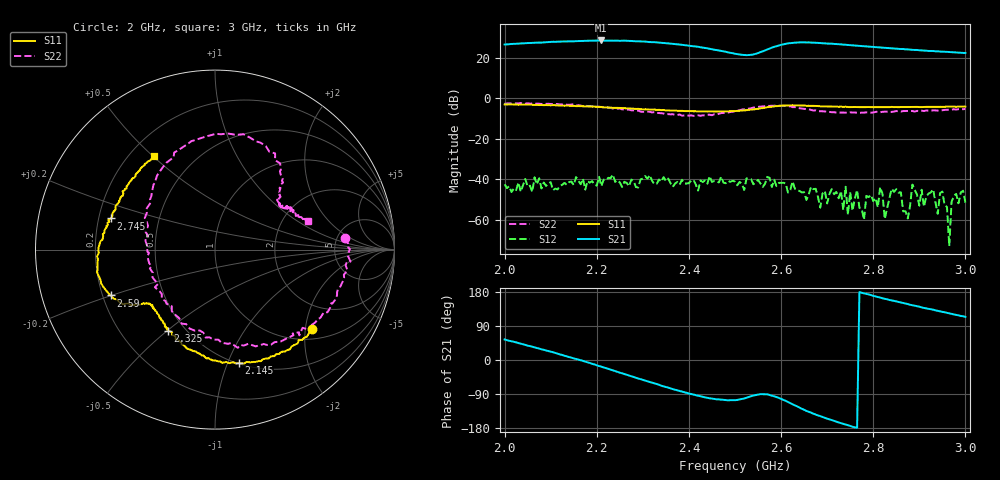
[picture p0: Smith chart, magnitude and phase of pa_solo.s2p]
!Agilent Technologies,E8364A,US41440144,A.06.04.32
!Agilent E8364A: A.06.04.32
!Date: Friday, February 02, 2018 15:59:56
!Correction: S11(Full 2 Port(1,2)) S21(Full 2 Port(1,2)) S12(Full 2 Port(1,2)) S22(Full 2 Port(1,2))
!S2P File: Measurements: S11, S21, S12, S22:
# Hz S  dB  R 50
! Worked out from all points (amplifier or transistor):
!   201 points, 2 GHz to 3 GHz, reference 50 ohm
!   highest |S21| = 28.4 dB at 2.21 GHz (marker M1)
!   |S21| within 3 dB of that: start of sweep to 2.416 GHz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
!   unconditionally stable (mu >= 1): 2.263834 GHz to 2.273305 GHz; 2.28 GHz to 2.301 GHz; 2.317 GHz to end of sweep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
!   at 2.165 GHz: K = 0.57, MSG = 35.3 dB, |S12| = -42.4 dB
!   at 2.5 GHz: K = 2.81, MAG = 24.1 dB, |S12| = -41.1 dB
!   at 3 GHz: K = 6.27, MAG = 25.9 dB, |S12| = -51.4 dB
!   S11 on the Smith chart (normalised r, x): 2 GHz: 1.26, -2.18; 2.145 GHz: 0.51, -1.10; 2.325 GHz: 0.40, -0.50; 2.59 GHz: 0.23, -0.20; 2.745 GHz: 0.25, +0.14; 3 GHz: 0.30, +0.50
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2e9  -3.10 -39.2  26.41 54.0  -42.40 -86.2  -2.78 5.2
2.075e9  -3.41 -59.7  27.35 30.1  -39.46 -84.0  -2.76 -16.4
2.145e9  -3.81 -78.2  27.95 6.2  -41.04 -96.1  -3.17 -37.5
2.17e9  -4.02 -84.2  28.15 -2.3  -39.61 -123.0  -3.92 -47.2
2.21e9  -4.33 -94.6  28.40 -17.6  -43.28 -133.2  -4.37 -61.5
2.275e9  -5.14 -109.8  28.14 -43.0  -40.07 -138.2  -5.98 -87.8
2.325e9  -5.61 -120.2  27.55 -61.8  -42.33 -166.5  -6.89 -114.2
2.335e9  -5.75 -121.5  27.40 -65.3  -40.05 -150.8  -7.33 -118.0
2.415e9  -6.45 -134.5  25.41 -93.1  -42.52 -178.0  -8.53 -168.3
2.46e9  -6.62 -138.3  23.67 -103.8  -40.93 -155.2  -8.06 160.5
2.5e9  -6.37 -141.3  21.83 -106.0  -41.15 -167.3  -6.46 137.7
2.54e9  -5.53 -144.6  21.49 -93.8  -42.37 161.5  -4.63 112.8
2.57e9  -4.49 -149.4  23.96 -90.5  -38.79 171.5  -3.81 89.6
2.59e9  -3.96 -156.3  25.56 -97.8  -43.33 151.4  -3.58 76.2
2.625e9  -3.48 -169.4  27.24 -116.9  -40.97 116.2  -4.43 56.1
2.67e9  -3.82 177.6  27.27 -141.7  -44.79 130.1  -6.09 43.5
2.71e9  -4.12 169.3  26.80 -158.5  -44.76 135.1  -6.92 38.3
2.745e9  -4.37 163.3  26.16 -172.4  -57.47 123.3  -7.19 36.1
2.835e9  -4.45 148.4  24.59 158.3  -49.35 122.7  -6.58 30.7
2.91e9  -4.32 136.7  23.45 137.3  -53.48 140.1  -6.36 24.9
2.965e9  -4.23 128.5  22.70 123.1  -72.87 105.6  -5.66 18.6
3e9  -4.14 123.0  22.26 113.8  -51.44 117.9  -5.33 17.1
